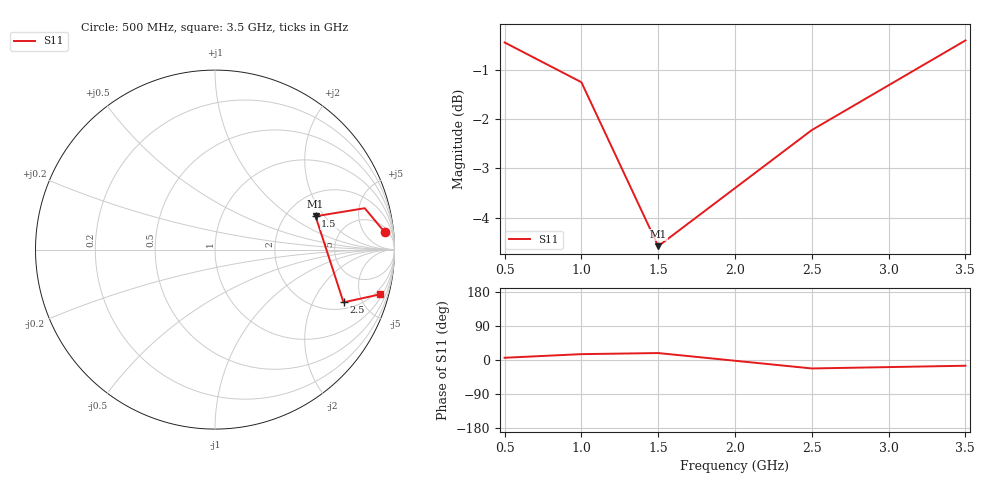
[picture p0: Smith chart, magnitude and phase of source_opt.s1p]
#  Hz  Z  RI  R  1
! optimized zs for cgh40025
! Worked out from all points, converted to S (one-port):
!   5 points, 500 MHz to 3.5 GHz, reference 1 ohm
!   lowest |S11| = -4.6 dB at 1.5 GHz (marker M1), VSWR 3.88, Z = 2.86 + j1.63 ohm
!   |S11| at or under -10 dB: nowhere
!   S11 on the Smith chart (normalised r, x): 500 MHz: 8, +16; 1.5 GHz: 2.86, +1.63; 2.5 GHz: 2.40, -3.52; 3.5 GHz: 1.31, -7.30
5e8  7.75 15.5
1e9  3.11 5.72
1.5e9  2.86 1.63
2.5e9  2.4 -3.52
3.5e9  1.31 -7.3
